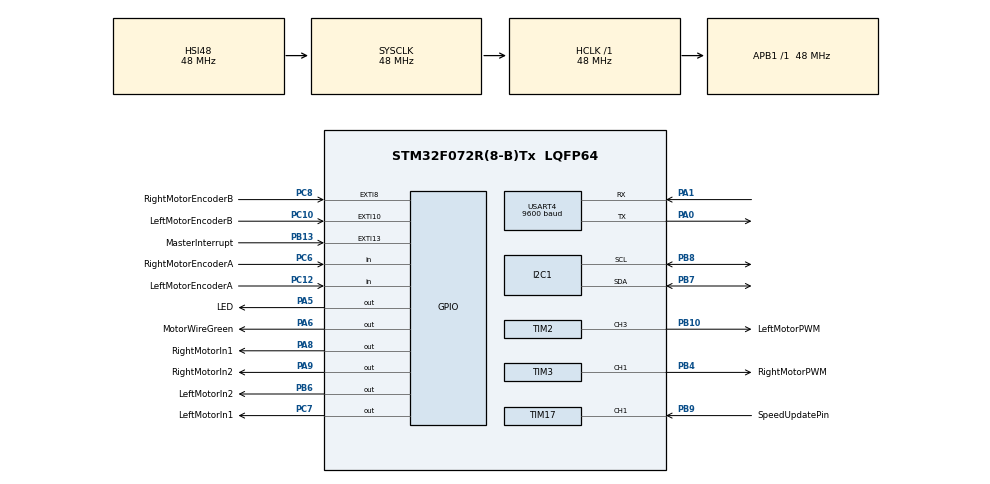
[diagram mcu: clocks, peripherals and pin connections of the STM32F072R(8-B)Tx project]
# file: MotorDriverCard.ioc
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Dma.Request0=TIM2_CH3
Dma.Request1=TIM3_CH1/TRIG
Dma.TIM2_CH3.0.Direction=DMA_MEMORY_TO_PERIPH
Dma.TIM2_CH3.0.Instance=DMA1_Channel1
Dma.TIM2_CH3.0.MemDataAlignment=DMA_MDATAALIGN_WORD
Dma.TIM2_CH3.0.MemInc=DMA_MINC_DISABLE
Dma.TIM2_CH3.0.Mode=DMA_CIRCULAR
Dma.TIM2_CH3.0.PeriphDataAlignment=DMA_PDATAALIGN_WORD
Dma.TIM2_CH3.0.PeriphInc=DMA_PINC_DISABLE
Dma.TIM2_CH3.0.Priority=DMA_PRIORITY_HIGH
Dma.TIM3_CH1/TRIG.1.Direction=DMA_MEMORY_TO_PERIPH
Dma.TIM3_CH1/TRIG.1.Instance=DMA1_Channel6
Dma.TIM3_CH1/TRIG.1.MemDataAlignment=DMA_MDATAALIGN_WORD
Dma.TIM3_CH1/TRIG.1.MemInc=DMA_MINC_DISABLE
Dma.TIM3_CH1/TRIG.1.Mode=DMA_CIRCULAR
Dma.TIM3_CH1/TRIG.1.PeriphDataAlignment=DMA_PDATAALIGN_WORD
Dma.TIM3_CH1/TRIG.1.PeriphInc=DMA_PINC_DISABLE
Dma.TIM3_CH1/TRIG.1.Priority=DMA_PRIORITY_HIGH
FREERTOS.Events01=messageReceived,Dynamic,NULL
FREERTOS.Mutexes01=logMutex,Static,logMutexControlBlock
FREERTOS.Queues01=messagesQueue,3,Message,0,Dynamic,NULL,NULL;speedMeasQueue,1,SpeedValues,0,Static,speedMeasQueueBuffer,speedMeasQueueControlBlock
FREERTOS.Tasks01=controllerTask,24,200,startControllerTask,Default,NULL,Dynamic,NULL,NULL;rxTask,24,200,startCommunicationTask,Default,NULL,Dynamic,NULL,NULL;feedbackTask,24,128,startFeedbackTask,Default,NULL,Dynamic,NULL,NULL
Mcu.Family=STM32F0
Mcu.Name=STM32F072R(8-B)Tx
Mcu.Package=LQFP64
Mcu.UserConstants=TIM2_PRESCALER,0;TIM2_PERIOD,10000-1;TIM3_PERIOD,10000-1;TIM3_PRESCALER,0;TIM17_PRESCALER,1000-1;TIM17_PERIOD,480-1
NVIC.DMA1_Channel1_IRQn=true\:3\:0\:false\:false\:true\:true\:false\:true\:true
NVIC.DMA1_Channel4_5_6_7_IRQn=true\:3\:0\:false\:false\:true\:true\:false\:true\:true
NVIC.EXTI4_15_IRQn=true\:3\:0\:false\:false\:true\:true\:true\:true\:true
NVIC.TIM17_IRQn=true\:3\:0\:false\:false\:true\:true\:true\:true\:true
NVIC.TIM6_DAC_IRQn=true\:0\:0\:false\:false\:true\:false\:false\:true\:true
NVIC.TimeBase=TIM6_DAC_IRQn
NVIC.TimeBaseIP=TIM6
NVIC.USART3_4_IRQn=true\:3\:0\:false\:false\:true\:true\:true\:true\:true
PA0.Mode=Asynchronous
PA0.Signal=USART4_TX
PA1.Mode=Asynchronous
PA1.Signal=USART4_RX
PA13.Mode=Serial_Wire
PA13.Signal=SYS_SWDIO
PA14.Mode=Serial_Wire
PA14.Signal=SYS_SWCLK
PA5.GPIO_Label=LED
PA5.GPIO_Mode=GPIO_MODE_OUTPUT_PP
PA5.GPIO_ModeDefaultOutputPP=GPIO_MODE_OUTPUT_PP
PA5.GPIO_PuPd=GPIO_NOPULL
PA5.GPIO_Speed=GPIO_SPEED_FREQ_LOW
PA5.PinState=GPIO_PIN_RESET
PA5.Signal=GPIO_Output
PA6.GPIO_Label=MotorWireGreen
PA6.GPIO_ModeDefaultOutputPP=GPIO_MODE_OUTPUT_OD
PA6.GPIO_PuPd=GPIO_NOPULL
PA6.GPIO_Speed=GPIO_SPEED_FREQ_LOW
PA6.PinState=GPIO_PIN_RESET
PA6.Signal=GPIO_Output
PA8.GPIO_Label=RightMotorIn1
PA8.GPIO_ModeDefaultOutputPP=GPIO_MODE_OUTPUT_OD
PA8.Signal=GPIO_Output
PA9.GPIO_Label=RightMotorIn2
PA9.GPIO_ModeDefaultOutputPP=GPIO_MODE_OUTPUT_OD
PA9.Signal=GPIO_Output
PB10.GPIO_Label=LeftMotorPWM
PB10.GPIO_ModeDefaultPP=GPIO_MODE_AF_OD
PB10.GPIO_PuPd=GPIO_NOPULL
PB10.GPIO_Speed=GPIO_SPEED_FREQ_LOW
PB10.Signal=S_TIM2_CH3
PB13.GPIO_Label=MasterInterrupt
PB13.GPIO_PuPd=GPIO_PULLDOWN
PB13.Signal=GPXTI13
PB4.GPIO_Label=RightMotorPWM
PB4.GPIO_ModeDefaultPP=GPIO_MODE_AF_OD
PB4.Signal=S_TIM3_CH1
PB6.GPIO_Label=LeftMotorIn2
PB6.GPIO_ModeDefaultOutputPP=GPIO_MODE_OUTPUT_OD
PB6.Signal=GPIO_Output
PB7.Mode=I2C
PB7.Signal=I2C1_SDA
PB8.Mode=I2C
PB8.Signal=I2C1_SCL
PB9.GPIO_Label=SpeedUpdatePin
PB9.Signal=S_TIM17_CH1
PC10.GPIO_Label=LeftMotorEncoderB
PC10.GPIO_ModeDefaultEXTI=GPIO_MODE_IT_RISING_FALLING
PC10.Signal=GPXTI10
PC12.GPIO_Label=LeftMotorEncoderA
PC12.Signal=GPIO_Input
PC14-OSC32_IN.Mode=LSE-External-Oscillator
PC14-OSC32_IN.Signal=RCC_OSC32_IN
PC15-OSC32_OUT.Mode=LSE-External-Oscillator
PC15-OSC32_OUT.Signal=RCC_OSC32_OUT
PC6.GPIO_Label=RightMotorEncoderA
PC6.Signal=GPIO_Input
PC7.GPIO_Label=LeftMotorIn1
PC7.GPIO_ModeDefaultOutputPP=GPIO_MODE_OUTPUT_OD
PC7.Signal=GPIO_Output
PC8.GPIO_Label=RightMotorEncoderB
PC8.GPIO_ModeDefaultEXTI=GPIO_MODE_IT_RISING_FALLING
PC8.Signal=GPXTI8
PF0-OSC_IN.Mode=HSE-External-Oscillator
PF0-OSC_IN.Signal=RCC_OSC_IN
PF1-OSC_OUT.Mode=HSE-External-Oscillator
PF1-OSC_OUT.Signal=RCC_OSC_OUT
ProjectManager.HeapSize=0x200
ProjectManager.StackSize=0x400
ProjectManager.TargetToolchain=STM32CubeIDE
RCC.AHBFreq_Value=48000000
RCC.APB1Freq_Value=48000000
RCC.APB1TimFreq_Value=48000000
RCC.FLatency-AdvancedSettings=FLASH_LATENCY_1
RCC.HCLKFreq_Value=48000000
RCC.PLLDivider=RCC_PREDIV_DIV2
RCC.PLLMUL=RCC_PLL_MUL12
RCC.PREFETCH_ENABLE-AdvancedSettings=1
RCC.SYSCLKFreq_VALUE=48000000
RCC.SYSCLKSource=RCC_SYSCLKSOURCE_HSI48
SH.S_TIM17_CH1.0=TIM17_CH1,Input_Capture1_from_TI1
SH.S_TIM2_CH3.0=TIM2_CH3,PWM Generation3 CH3
SH.S_TIM3_CH1.0=TIM3_CH1,PWM Generation1 CH1
TIM17.Channel=TIM_CHANNEL_1
TIM17.Period=TIM17_PERIOD
TIM17.Prescaler=TIM17_PRESCALER
TIM2.AutoReloadPreload=TIM_AUTORELOAD_PRELOAD_DISABLE
TIM2.Channel-PWM\ Generation3\ CH3=TIM_CHANNEL_3
TIM2.OCPolarity_3=TIM_OCPOLARITY_HIGH
TIM2.Period=TIM2_PERIOD
TIM2.Prescaler=TIM2_PRESCALER
TIM2.TIM_MasterOutputTrigger=TIM_TRGO_UPDATE
TIM3.AutoReloadPreload=TIM_AUTORELOAD_PRELOAD_DISABLE
TIM3.Channel-PWM\ Generation1\ CH1=TIM_CHANNEL_1
TIM3.Period=TIM3_PERIOD
TIM3.Prescaler=TIM3_PRESCALER
TIM3.TIM_MasterOutputTrigger=TIM_TRGO_UPDATE
USART4.BaudRate=9600
USART4.Mode=MODE_TX
USART4.OverrunDisableParam=ADVFEATURE_OVERRUN_DISABLE
USART4.VirtualMode-Asynchronous=VM_ASYNC
VP_FREERTOS_VS_CMSIS_V2.Mode=CMSIS_V2
VP_SYS_VS_tim6.Mode=TIM6
VP_TIM17_VS_ClockSourceINT.Mode=Enable_Timer
VP_TIM2_VS_ClockSourceINT.Mode=Internal
VP_TIM3_VS_ClockSourceINT.Mode=Internal
board=NUCLEO-F072RB

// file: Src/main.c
/* USER CODE BEGIN Header */
/**
  ******************************************************************************
  * @file           : main.c
  * @brief          : Main program body
  ******************************************************************************
  * @attention
  *
  * <h2><center>&copy; Copyright (c) 2021 STMicroelectronics.
  * All rights reserved.</center></h2>
  *
  * This software component is licensed by ST under Ultimate Liberty license
  * SLA0044, the "License"; You may not use this file except in compliance with
  * the License. You may obtain a copy of the License at:
  *                             www.st.com/SLA0044
  *
  ******************************************************************************
  */
/* USER CODE END Header */
#include "main.h"
#include "cmsis_os.h"
#include "dma.h"
#include "i2c.h"
#include "tim.h"
#include "usart.h"
#include "gpio.h"

/* USER CODE BEGIN Includes */
#include <MDC/main/init.h>

/* USER CODE END Includes */

void SystemClock_Config(void);
void MX_FREERTOS_Init(void);

int main(void)
{

  /* MCU Configuration--------------------------------------------------------*/

  /* Reset of all peripherals, Initializes the Flash interface and the Systick. */
  HAL_Init();

  /* Configure the system clock */
  SystemClock_Config();

  /* Initialize all configured peripherals */
  MX_GPIO_Init();
  MX_DMA_Init();
  MX_TIM2_Init();
  MX_TIM3_Init();
  MX_TIM17_Init();
  MX_USART4_UART_Init();
  MX_I2C1_Init();

  /* Init scheduler */
  osKernelInitialize();  /* Call init function for freertos objects (in freertos.c) */
  MX_FREERTOS_Init();

  /* Start scheduler */
  osKernelStart();

  /* We should never get here as control is now taken by the scheduler */
  /* Infinite loop */
  while (1)
  {

  }
}

void SystemClock_Config(void)
{
  RCC_OscInitTypeDef RCC_OscInitStruct = {0};
  RCC_ClkInitTypeDef RCC_ClkInitStruct = {0};
  RCC_PeriphCLKInitTypeDef PeriphClkInit = {0};

  /** Initializes the RCC Oscillators according to the specified parameters
  * in the RCC_OscInitTypeDef structure.
  */
  RCC_OscInitStruct.OscillatorType = RCC_OSCILLATORTYPE_HSI|RCC_OSCILLATORTYPE_HSI48;
  RCC_OscInitStruct.HSIState = RCC_HSI_ON;
  RCC_OscInitStruct.HSI48State = RCC_HSI48_ON;
  RCC_OscInitStruct.HSICalibrationValue = RCC_HSICALIBRATION_DEFAULT;
  RCC_OscInitStruct.PLL.PLLState = RCC_PLL_NONE;
  if (HAL_RCC_OscConfig(&RCC_OscInitStruct) != HAL_OK)
  {
    Error_Handler();
  }

  /** Initializes the CPU, AHB and APB buses clocks
  */
  RCC_ClkInitStruct.ClockType = RCC_CLOCKTYPE_HCLK|RCC_CLOCKTYPE_SYSCLK
                              |RCC_CLOCKTYPE_PCLK1;
  RCC_ClkInitStruct.SYSCLKSource = RCC_SYSCLKSOURCE_HSI48;
  RCC_ClkInitStruct.AHBCLKDivider = RCC_SYSCLK_DIV1;
  RCC_ClkInitStruct.APB1CLKDivider = RCC_HCLK_DIV1;

  if (HAL_RCC_ClockConfig(&RCC_ClkInitStruct, FLASH_LATENCY_1) != HAL_OK)
  {
    Error_Handler();
  }
  PeriphClkInit.PeriphClockSelection = RCC_PERIPHCLK_I2C1;
  PeriphClkInit.I2c1ClockSelection = RCC_I2C1CLKSOURCE_HSI;
  if (HAL_RCCEx_PeriphCLKConfig(&PeriphClkInit) != HAL_OK)
  {
    Error_Handler();
  }
}

/* USER CODE BEGIN 4 */
void HAL_GPIO_EXTI_Callback (uint16_t GPIO_Pin)
{
    onExtInterrupt(GPIO_Pin);
}

void HAL_UART_RxCpltCallback (UART_HandleTypeDef* huart)
{
    onRxCpltCallback(huart);
}

/* USER CODE END 4 */

void HAL_TIM_PeriodElapsedCallback(TIM_HandleTypeDef *htim)
{
  if (htim->Instance == TIM6) {
    HAL_IncTick();
  }
  /* USER CODE BEGIN Callback 1 */
    onPeriodElapsedCallback(htim);
  /* USER CODE END Callback 1 */
}

void Error_Handler(void)
{
  __disable_irq();
  while (1)
  {
  }
}

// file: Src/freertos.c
/* USER CODE BEGIN Header */
/**
  ******************************************************************************
  * File Name          : freertos.c
  * Description        : Code for freertos applications
  ******************************************************************************
  * @attention
  *
  * <h2><center>&copy; Copyright (c) 2021 STMicroelectronics.
  * All rights reserved.</center></h2>
  *
  * This software component is licensed by ST under Ultimate Liberty license
  * SLA0044, the "License"; You may not use this file except in compliance with
  * the License. You may obtain a copy of the License at:
  *                             www.st.com/SLA0044
  *
  ******************************************************************************
  */
/* USER CODE END Header */

#include "FreeRTOS.h"
#include "task.h"
#include "main.h"
#include "cmsis_os.h"

/* USER CODE BEGIN Includes */
#include <MDC/main/context.h>
#include <MDC/main/init.h>
#include <MDC/main/defs.h>

#include <msg/defs/Message.h>
#include <log/interface.h>
#include <MDC/feedback//interface.h>
#include <MDC/controller/interface.h>
#include <MDC/rx/interface.h>
/* USER CODE END Includes */

typedef StaticQueue_t osStaticMessageQDef_t;
typedef StaticSemaphore_t osStaticMutexDef_t;

/* USER CODE BEGIN Variables */
struct Context* context;
/* USER CODE END Variables */
/* Definitions for controllerTask */
osThreadId_t controllerTaskHandle;
const osThreadAttr_t controllerTask_attributes = {
  .name = "controllerTask",
  .stack_size = 200 * 4,
  .priority = (osPriority_t) osPriorityNormal,
};
/* Definitions for rxTask */
osThreadId_t rxTaskHandle;
const osThreadAttr_t rxTask_attributes = {
  .name = "rxTask",
  .stack_size = 200 * 4,
  .priority = (osPriority_t) osPriorityNormal,
};
/* Definitions for feedbackTask */
osThreadId_t feedbackTaskHandle;
const osThreadAttr_t feedbackTask_attributes = {
  .name = "feedbackTask",
  .stack_size = 128 * 4,
  .priority = (osPriority_t) osPriorityNormal,
};
/* Definitions for messagesQueue */
osMessageQueueId_t messagesQueueHandle;
const osMessageQueueAttr_t messagesQueue_attributes = {
  .name = "messagesQueue"
};
/* Definitions for speedMeasQueue */
osMessageQueueId_t speedMeasQueueHandle;
uint8_t speedMeasQueueBuffer[ 1 * sizeof( struct SpeedValues ) ];
osStaticMessageQDef_t speedMeasQueueControlBlock;
const osMessageQueueAttr_t speedMeasQueue_attributes = {
  .name = "speedMeasQueue",
  .cb_mem = &speedMeasQueueControlBlock,
  .cb_size = sizeof(speedMeasQueueControlBlock),
  .mq_mem = &speedMeasQueueBuffer,
  .mq_size = sizeof(speedMeasQueueBuffer)
};
/* Definitions for logMutex */
osMutexId_t logMutexHandle;
osStaticMutexDef_t logMutexControlBlock;
const osMutexAttr_t logMutex_attributes = {
  .name = "logMutex",
  .cb_mem = &logMutexControlBlock,
  .cb_size = sizeof(logMutexControlBlock),
};
/* Definitions for messageReceived */
osEventFlagsId_t messageReceivedHandle;
const osEventFlagsAttr_t messageReceived_attributes = {
  .name = "messageReceived"
};

void startControllerTask(void *argument);
void startCommunicationTask(void *argument);
void startFeedbackTask(void *argument);

void MX_FREERTOS_Init(void); /* (MISRA C 2004 rule 8.1) */

void MX_FREERTOS_Init(void) {
  /* USER CODE BEGIN Init */

    HAL_GPIO_TogglePin(LED_GPIO_Port, LED_Pin);
    HAL_Delay(300);
    HAL_GPIO_TogglePin(LED_GPIO_Port, LED_Pin);
    context = new_context();

  /* USER CODE END Init */
  /* Create the mutex(es) */
  /* creation of logMutex */
  logMutexHandle = osMutexNew(&logMutex_attributes);

  /* USER CODE BEGIN RTOS_MUTEX */
    configure_log(&logMutexHandle);
  /* add mutexes, ... */
  /* USER CODE END RTOS_MUTEX */

  /* Create the queue(s) */
  /* creation of messagesQueue */
  messagesQueueHandle = osMessageQueueNew (3, sizeof(Message), &messagesQueue_attributes);

  /* creation of speedMeasQueue */
  speedMeasQueueHandle = osMessageQueueNew (1, sizeof(struct SpeedValues), &speedMeasQueue_attributes);

  /* Create the thread(s) */
  /* creation of controllerTask */
  controllerTaskHandle = osThreadNew(startControllerTask, NULL, &controllerTask_attributes);

  /* creation of rxTask */
  rxTaskHandle = osThreadNew(startCommunicationTask, NULL, &rxTask_attributes);

  /* creation of feedbackTask */
  feedbackTaskHandle = osThreadNew(startFeedbackTask, NULL, &feedbackTask_attributes);

  /* creation of messageReceived */
  messageReceivedHandle = osEventFlagsNew(&messageReceived_attributes);

  /* USER CODE BEGIN RTOS_EVENTS */
  /* add events, ... */
    configureRx(&rxTaskHandle, &messagesQueueHandle);

    struct FeedbackConfig feedbackConfig = {
        &speedMeasQueueHandle,
        &feedbackTaskHandle
    };
    configure_feedback(&feedbackConfig);

    configure_controller(&controllerTaskHandle, &messagesQueueHandle);
  /* USER CODE END RTOS_EVENTS */

}

void startControllerTask(void *argument)
{
  /* USER CODE BEGIN startControllerTask */
    LOG_INFO("Start controller\n");
  /* Infinite loop */
  for(;;)
  {
      work_controller();
  }
  /* USER CODE END startControllerTask */
}

/* USER CODE BEGIN Header_startCommunicationTask */
/**
* @brief Function implementing the comTask thread.
* @param argument: Not used
* @retval None
*/
_Noreturn
/* USER CODE END Header_startCommunicationTask */
void startCommunicationTask(void *argument)
{
  /* USER CODE BEGIN startCommunicationTask */
    LOG_INFO("Start Rx\n");
  /* Infinite loop */
  for(;;)
  {
      workRx();
  }
  /* USER CODE END startCommunicationTask */
}

void startFeedbackTask(void *argument)
{
  /* USER CODE BEGIN startFeedbackTask */
  LOG_INFO("Start feedback\n");

  /* Infinite loop */
  for(;;)
  {
    work_feedback();
  }
  /* USER CODE END startFeedbackTask */
}
